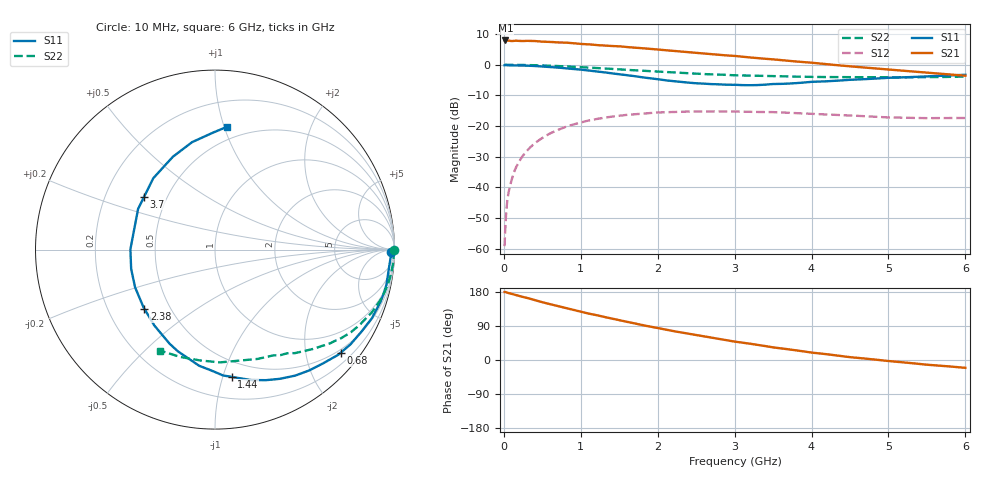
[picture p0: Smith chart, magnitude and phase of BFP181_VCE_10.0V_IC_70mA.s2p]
! Infineon Technologies  Discrete & RF Semiconductors
! BFP181
! VCE = 10.0V,  IC =  70 mA
! Common Emitter S-Parameters:  Jan 2016
# GHz  S  MA  R  50
!  f  S11  S21  S12  S22
! GHz  MAG  ANG  MAG  ANG  MAG  ANG  MAG  ANG
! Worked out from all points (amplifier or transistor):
!   210 points, 10 MHz to 6 GHz, reference 50 ohm
!   highest |S21| = 7.9 dB at 20 MHz (marker M1)
!   |S21| within 3 dB of that: start of sweep to 2.015 GHz
!   unconditionally stable (mu >= 1): 3.575 GHz to end of sweep
!   at 185 MHz: K = 0.06, MSG = 20.0 dB, |S12| = -32.2 dB
!   at 1.52 GHz: K = 0.47, MSG = 11.3 dB, |S12| = -16.6 dB
!   at 6 GHz: K = 1.35, MAG = 3.4 dB, |S12| = -17.4 dB
!   S11 on the Smith chart (normalised r, x): 10 MHz: 67, -47; 680 MHz: 0.43, -2.73; 1.44 GHz: 0.37, -1.07; 2.38 GHz: 0.36, -0.32; 3.7 GHz: 0.37, +0.29; 6 GHz: 0.39, +1.02
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0.01  0.9803 -0.8  2.454 179.4  0.0011 71.2  0.9983 -0.2
0.02  0.9863 -1.2  2.488 179.5  0.0023 77.6  0.9978 -0.6
0.04  0.9816 -2.1  2.483 178.0  0.0053 88.9  0.9966 -1.2
0.06  0.9782 -3.3  2.47 176.8  0.0081 89.0  0.9959 -1.8
0.115  0.9742 -6.9  2.438 173.8  0.0152 84.6  0.9956 -3.2
0.18  0.9742 -10.7  2.457 170.1  0.0239 82.5  0.9937 -5.1
0.4  0.9546 -23.5  2.437 157.9  0.0521 73.6  0.9827 -11.4
0.68  0.9058 -39.4  2.32 143.3  0.0841 62.7  0.9543 -18.9
0.8  0.875 -46.3  2.302 137.3  0.0966 58.2  0.9407 -21.9
1.02  0.8264 -58.6  2.176 126.7  0.1162 50.4  0.9105 -27.1
1.1  0.8058 -63.3  2.157 122.6  0.123 47.7  0.9 -28.9
1.44  0.7148 -82.5  2.012 107.7  0.1444 37.1  0.8499 -36.1
1.8  0.6231 -103.9  1.859 92.0  0.1598 28.1  0.7991 -42.4
2.02  0.5763 -117.1  1.759 83.5  0.1668 22.6  0.7724 -46.0
2.38  0.5135 -139.9  1.609 70.0  0.1723 14.7  0.7307 -52.0
2.8  0.4793 -167.1  1.45 55.3  0.1742 7.1  0.6923 -58.1
3.1  0.4652 174.2  1.351 45.9  0.1713 2.6  0.6681 -62.7
3.7  0.4928 143.2  1.158 28.2  0.1647 -4.6  0.6438 -72.2
4.1  0.5307 127.3  1.048 17.4  0.1569 -8.3  0.631 -79.5
4.5  0.568 114.4  0.943 7.5  0.1488 -11.1  0.629 -87.4
5.1  0.6175 100.0  0.816 -4.5  0.1375 -10.6  0.6226 -99.6
6  0.686 84.6  0.662 -20.7  0.1355 -6.5  0.6409 -118.7
